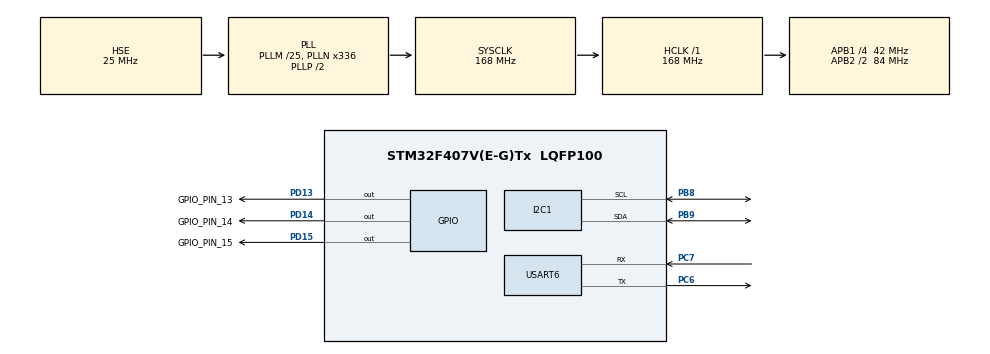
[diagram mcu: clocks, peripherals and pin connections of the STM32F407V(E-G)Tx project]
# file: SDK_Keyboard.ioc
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FREERTOS.Queues01=myQueue01,16,uint16_t,0,Dynamic,NULL,NULL
FREERTOS.Tasks01=defaultTask,0,128,StartDefaultTask,Default,NULL,Dynamic,NULL,NULL;myTask02,-2,128,StartTask02,Default,NULL,Dynamic,NULL,NULL
Mcu.Family=STM32F4
Mcu.Name=STM32F407V(E-G)Tx
Mcu.Package=LQFP100
NVIC.PriorityGroup=NVIC_PRIORITYGROUP_4
PA13.Mode=JTAG_5_pins
PA13.Signal=SYS_JTMS-SWDIO
PA14.Mode=JTAG_5_pins
PA14.Signal=SYS_JTCK-SWCLK
PA15.Mode=JTAG_5_pins
PA15.Signal=SYS_JTDI
PB3.Mode=JTAG_5_pins
PB3.Signal=SYS_JTDO-SWO
PB4.Mode=JTAG_5_pins
PB4.Signal=SYS_JTRST
PB8.GPIO_Pu=GPIO_PULLUP
PB8.Mode=I2C
PB8.Signal=I2C1_SCL
PB9.GPIO_Pu=GPIO_PULLUP
PB9.Mode=I2C
PB9.Signal=I2C1_SDA
PC6.Mode=Asynchronous
PC6.Signal=USART6_TX
PC7.Mode=Asynchronous
PC7.Signal=USART6_RX
PD13.GPIO_Label=GPIO_PIN_13
PD13.Signal=GPIO_Output
PD14.GPIO_Label=GPIO_PIN_14
PD14.Signal=GPIO_Output
PD15.GPIO_Label=GPIO_PIN_15
PD15.Signal=GPIO_Output
PH0-OSC_IN.Mode=HSE-External-Oscillator
PH0-OSC_IN.Signal=RCC_OSC_IN
PH1-OSC_OUT.Mode=HSE-External-Oscillator
PH1-OSC_OUT.Signal=RCC_OSC_OUT
ProjectManager.HeapSize=0x200
ProjectManager.StackSize=0x400
ProjectManager.TargetToolchain=STM32CubeIDE
RCC.48MHZClocksFreq_Value=84000000
RCC.AHBFreq_Value=168000000
RCC.APB1CLKDivider=RCC_HCLK_DIV4
RCC.APB1Freq_Value=42000000
RCC.APB1TimFreq_Value=84000000
RCC.APB2CLKDivider=RCC_HCLK_DIV2
RCC.APB2Freq_Value=84000000
RCC.APB2TimFreq_Value=168000000
RCC.CortexFreq_Value=168000000
RCC.HCLKFreq_Value=168000000
RCC.HSE_VALUE=25000000
RCC.HSI_VALUE=16000000
RCC.LSE_VALUE=32768
RCC.PLLM=25
RCC.PLLN=336
RCC.PLLSourceVirtual=RCC_PLLSOURCE_HSE
RCC.SYSCLKFreq_VALUE=168000000
RCC.SYSCLKSource=RCC_SYSCLKSOURCE_PLLCLK
RCC.VCOOutputFreq_Value=336000000
USART6.VirtualMode=VM_ASYNC
VP_FREERTOS_VS_CMSIS_V1.Mode=CMSIS_V1
board=custom

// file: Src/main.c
/* USER CODE BEGIN Header */
/**
  ******************************************************************************
  * @file           : main.c
  * @brief          : Main program body
  ******************************************************************************
  * @attention
  *
  * <h2><center>&copy; Copyright (c) 2019 STMicroelectronics.
  * All rights reserved.</center></h2>
  *
  * This software component is licensed by ST under BSD 3-Clause license,
  * the "License"; You may not use this file except in compliance with the
  * License. You may obtain a copy of the License at:
  *                        opensource.org/licenses/BSD-3-Clause
  *
  ******************************************************************************
  */
/* USER CODE END Header */
#include "main.h"
#include "cmsis_os.h"
#include "i2c.h"
#include "usart.h"
#include "gpio.h"

/* USER CODE BEGIN Includes */
#include "kb.h"
#include "sdk_uart.h"
#include "pca9538.h"
#include "oled.h"
#include "fonts.h"
/* USER CODE END Includes */

void SystemClock_Config(void);
void MX_FREERTOS_Init(void);
/* USER CODE BEGIN PFP */
void KB_Test( void );
void OLED_KB( uint8_t OLED_Keys[]);
void oled_Reset( void );
/* USER CODE END PFP */

int main(void)
{

  /* MCU Configuration--------------------------------------------------------*/

  /* Reset of all peripherals, Initializes the Flash interface and the Systick. */
  HAL_Init();

  /* Configure the system clock */
  SystemClock_Config();

  /* Initialize all configured peripherals */
  MX_GPIO_Init();
  MX_I2C1_Init();
  MX_USART6_UART_Init();

  /* USER CODE BEGIN 2 */

  MX_FREERTOS_Init();

    /* Start scheduler */
  osKernelStart();

  /* USER CODE END 2 */

  /* Call init function for freertos objects (in freertos.c) */

  /* We should never get here as control is now taken by the scheduler */
  /* Infinite loop */
  while (1)
  {

  }
}

void SystemClock_Config(void)
{
  RCC_OscInitTypeDef RCC_OscInitStruct = {0};
  RCC_ClkInitTypeDef RCC_ClkInitStruct = {0};

  /** Configure the main internal regulator output voltage
  */
  __HAL_RCC_PWR_CLK_ENABLE();
  __HAL_PWR_VOLTAGESCALING_CONFIG(PWR_REGULATOR_VOLTAGE_SCALE1);

  /** Initializes the RCC Oscillators according to the specified parameters
  * in the RCC_OscInitTypeDef structure.
  */
  RCC_OscInitStruct.OscillatorType = RCC_OSCILLATORTYPE_HSE;
  RCC_OscInitStruct.HSEState = RCC_HSE_ON;
  RCC_OscInitStruct.PLL.PLLState = RCC_PLL_ON;
  RCC_OscInitStruct.PLL.PLLSource = RCC_PLLSOURCE_HSE;
  RCC_OscInitStruct.PLL.PLLM = 25;
  RCC_OscInitStruct.PLL.PLLN = 336;
  RCC_OscInitStruct.PLL.PLLP = RCC_PLLP_DIV2;
  RCC_OscInitStruct.PLL.PLLQ = 4;
  if (HAL_RCC_OscConfig(&RCC_OscInitStruct) != HAL_OK)
  {
    Error_Handler();
  }

  /** Initializes the CPU, AHB and APB buses clocks
  */
  RCC_ClkInitStruct.ClockType = RCC_CLOCKTYPE_HCLK|RCC_CLOCKTYPE_SYSCLK
                              |RCC_CLOCKTYPE_PCLK1|RCC_CLOCKTYPE_PCLK2;
  RCC_ClkInitStruct.SYSCLKSource = RCC_SYSCLKSOURCE_PLLCLK;
  RCC_ClkInitStruct.AHBCLKDivider = RCC_SYSCLK_DIV1;
  RCC_ClkInitStruct.APB1CLKDivider = RCC_HCLK_DIV4;
  RCC_ClkInitStruct.APB2CLKDivider = RCC_HCLK_DIV2;

  if (HAL_RCC_ClockConfig(&RCC_ClkInitStruct, FLASH_LATENCY_5) != HAL_OK)
  {
    Error_Handler();
  }
}

/* USER CODE BEGIN 4 */
void KB_Test( void ) {
	UART_Transmit( (uint8_t*)"KB test start\n" );
	uint8_t R = 0, C = 0, L = 0, Row[4] = {ROW4, ROW3, ROW2, ROW1}, Key, OldKey, OLED_Keys[12] = {0x30,0x30,0x30,0x30,0x30,0x30,0x30,0x30,0x30,0x30,0x30,0x30};
	oled_Reset();
	oled_WriteString("From bottom to top", Font_7x10, White);
	OLED_KB(OLED_Keys);
	oled_UpdateScreen();
	for ( int i = 0; i < 4; i++ ) {
		while( !( R && C && L ) ) {
			OldKey = Key;
			Key = Check_Row( Row[i] );
			if ( Key == 0x01 && Key != OldKey) {
				UART_Transmit( (uint8_t*)"Right pressed\n" );
				R = 1;
				OLED_Keys[2+3*i] = 0x31;
				OLED_KB(OLED_Keys);
			} else if ( Key == 0x02 && Key != OldKey) {
				UART_Transmit( (uint8_t*)"Center pressed\n" );
				C = 1;
				OLED_Keys[1+3*i] = 0x31;
				OLED_KB(OLED_Keys);
			} else if ( Key == 0x04 && Key != OldKey) {
				UART_Transmit( (uint8_t*)"Left pressed\n" );
				L = 1;
				OLED_Keys[3*i] = 0x31;
				OLED_KB(OLED_Keys);
			}
		}
		UART_Transmit( (uint8_t*)"Row complete\n" );
		R = C = L = 0;
		HAL_Delay(25);
	}
	UART_Transmit( (uint8_t*)"KB test complete\n");
}
void OLED_KB( uint8_t OLED_Keys[12]) {
	for (int i = 3; i >= 0; i--) {
		oled_SetCursor(56, 5+(4-i)*10);
		for (int j = 0; j < 3; j++) {
			oled_WriteChar(OLED_Keys[j+3*i], Font_7x10, White);
		}
	}
	oled_UpdateScreen();
}
void oled_Reset( void ) {
	oled_Fill(Black);
	oled_SetCursor(0, 0);
	oled_UpdateScreen();
}
/* USER CODE END 4 */

void Error_Handler(void)
{
}

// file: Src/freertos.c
/* USER CODE BEGIN Header */
/**
  ******************************************************************************
  * File Name          : freertos.c
  * Description        : Code for freertos applications
  ******************************************************************************
  * @attention
  *
  * Copyright (c) 2024 STMicroelectronics.
  * All rights reserved.
  *
  * This software is licensed under terms that can be found in the LICENSE file
  * in the root directory of this software component.
  * If no LICENSE file comes with this software, it is provided AS-IS.
  *
  ******************************************************************************
  */
/* USER CODE END Header */

#include "FreeRTOS.h"
#include "task.h"
#include "main.h"
#include "cmsis_os.h"

/* USER CODE BEGIN Includes */
#include "oled.h"
#include "kb.h"
#include <malloc.h>
#include <stdlib.h>
#include <time.h>
/* USER CODE END Includes */

/* USER CODE BEGIN PTD */
typedef struct snake {
	struct snake *prev;
	struct snake *next;
	uint32_t x;
	uint32_t y;
} snake;

enum direction {
	LEFT,
	UP,
	RIGHT,
	DOWN
};
/* USER CODE END PTD */

/* USER CODE BEGIN PD */
uint32_t random_seed();
/* USER CODE END PD */

/* USER CODE BEGIN Variables */
uint32_t seed = 326443256;
uint32_t A = 2345345, C = 54217867, M = 4294967296;
uint8_t direction = LEFT;
/* USER CODE END Variables */
osThreadId defaultTaskHandle;
osThreadId myTask02Handle;
osMessageQId myQueue01Handle;

void StartDefaultTask(void const * argument);
void StartTask02(void const * argument);

void MX_FREERTOS_Init(void); /* (MISRA C 2004 rule 8.1) */

/* GetIdleTaskMemory prototype (linked to static allocation support) */
void vApplicationGetIdleTaskMemory( StaticTask_t **ppxIdleTaskTCBBuffer, StackType_t **ppxIdleTaskStackBuffer, uint32_t *pulIdleTaskStackSize );

/* USER CODE BEGIN GET_IDLE_TASK_MEMORY */
static StaticTask_t xIdleTaskTCBBuffer;
static StackType_t xIdleStack[configMINIMAL_STACK_SIZE];

void vApplicationGetIdleTaskMemory( StaticTask_t **ppxIdleTaskTCBBuffer, StackType_t **ppxIdleTaskStackBuffer, uint32_t *pulIdleTaskStackSize )
{
  *ppxIdleTaskTCBBuffer = &xIdleTaskTCBBuffer;
  *ppxIdleTaskStackBuffer = &xIdleStack[0];
  *pulIdleTaskStackSize = configMINIMAL_STACK_SIZE;
  /* place for user code */
}
/* USER CODE END GET_IDLE_TASK_MEMORY */

void MX_FREERTOS_Init(void) {

  /* Create the queue(s) */
  /* definition and creation of myQueue01 */
  osMessageQDef(myQueue01, 16, uint16_t);
  myQueue01Handle = osMessageCreate(osMessageQ(myQueue01), NULL);

  /* Create the thread(s) */
  /* definition and creation of defaultTask */
  osThreadDef(defaultTask, StartDefaultTask, osPriorityNormal, 0, 1024);
  defaultTaskHandle = osThreadCreate(osThread(defaultTask), NULL);

  /* definition and creation of myTask02 */
  osThreadDef(myTask02, StartTask02, osPriorityNormal, 0, 128);
  myTask02Handle = osThreadCreate(osThread(myTask02), NULL);

}

void StartDefaultTask(void const * argument)
{
  /* USER CODE BEGIN StartDefaultTask */
  /* Infinite loop */
	oled_Init();

	uint32_t width_screen = 128;
	uint32_t height_screen = 64;
	uint32_t width_snake = 4;
	uint32_t height_snake = 4;
	uint32_t x_cell = width_screen / width_snake;
	uint32_t y_cell = height_screen / height_snake;
	osEvent event;
	for (;;) {
		event = osMessageGet(myQueue01Handle, 100);
		while (event.status == osEventMessage) {
			event = osMessageGet(myQueue01Handle, 100);
		}
		oled_Reset();
		snake *head = (snake*) pvPortMalloc(sizeof(snake));
		head->x = x_cell/2;
		head->y = y_cell/2;
		snake *tail = head;
		for (int i = 1; i < 5; i++) {
			snake *node = (snake*) pvPortMalloc(sizeof(snake));
			node->next = tail;
			node->x = x_cell/2 + i;
			node->y = y_cell/2;
			tail->prev = node;
			tail = node;
		}
		snake *current_node = head;
		while (current_node != NULL) {
			uint16_t x1 = current_node->x * width_snake, y1 = current_node->y * height_snake;
			uint16_t x2 = x1 + width_snake, y2 = y1 + height_snake;
			oled_DrawSquare(x1, x2, y1, y2, White);
			oled_UpdateScreen();
			osDelay(100);
			current_node = current_node->prev;
		}

		int16_t xR = -1, yR = -1;
		uint8_t A = 1664525;
		for (;;) {
			event = osMessageGet(myQueue01Handle, 100);
			if (event.status == osEventMessage) {
				direction = event.value.v;
			}

			snake * node = (snake*) pvPortMalloc(sizeof(snake));
			node->x = head->x;
			node->y = head->y;
			switch (direction) {
				case DOWN:
					node->y += 1;
					break;
				case UP:
					node->y -= 1;
					break;
				case RIGHT:
					node->x += 1;
					break;
				case LEFT:
					node->x -= 1;
					break;
			}
			head->next = node;
			node->prev = head;
			head = node;

			uint16_t x1 = head->x * width_snake;
			uint16_t y1 = head->y * height_snake;
			uint16_t x2 = x1 + width_snake;
			uint16_t y2 = y1 + height_snake;
			oled_DrawSquare(x1, x2, y1, y2, White);

			if (head->x == xR && head->y == yR) {
				xR = -1;
				yR = -1;
			} else {
				x1 = tail->x * width_snake;
				y1 = tail->y * height_snake;
				x2 = x1 + width_snake;
				y2 = y1 + height_snake;
				oled_DrawSquare(x1, x2, y1, y2, Black);

				tail = tail->next;
				vPortFree(tail->prev);
				tail->prev = NULL;
			}

			if (head->x >= x_cell || head->y >= y_cell || head->x < 0 || head->y < 0) {
				break;
			}

			snake *current_node = head->prev;
			uint8_t flag = 0x00;
			while (current_node != NULL) {
				if (head->x == current_node->x && head->y == current_node->y) {
					flag = 0x01;
					break;
				}
				current_node = current_node->prev;
			}
			if (flag == 0x01) {
				break;
			}

			if (xR == -1 && yR == -1) {
				for (;;) {
					xR = (int16_t) random_seed() % (x_cell - 1);
					yR = (int16_t) random_seed() % (y_cell - 1);
					current_node = head;
					flag = 0x00;
					while (current_node != NULL) {
						if (xR == current_node->x && yR == current_node->y) {
							flag = 0x01;
							break;
						}
						current_node = current_node->prev;
					}
					if (flag == 0x00) {
						break;
					}
				}

			}
			oled_DrawSquare(xR * width_snake, (xR + 1) * width_snake,
					yR * height_snake, (yR + 1) * height_snake, White);

			oled_UpdateScreen();
			osDelay(100);
		}

		current_node = head;
		while (current_node != NULL) {
			uint16_t x1 = current_node->x * width_snake, y1 = current_node->y * height_snake;
			uint16_t x2 = x1 + width_snake, y2 = y1 + height_snake;
			oled_DrawSquare(x1, x2, y1, y2, Black);
			oled_UpdateScreen();
			osDelay(100);
			current_node = current_node->prev;

		}
		direction = LEFT;

	}

  /* USER CODE END StartDefaultTask */
}

void StartTask02(void const * argument)
{
  /* USER CODE BEGIN StartTask02 */
  /* Infinite loop */
	for (;;) {
		uint8_t Row[4] = {ROW4, ROW3, ROW2, ROW1};
		for ( int i = 1; i < 4; i++ ) {
			uint8_t Key = Check_Row( Row[i] );
			if (i == 1 && Key == 0x02 && direction != UP && direction != DOWN) {
				direction = DOWN;
				osMessagePut(myQueue01Handle, direction, 100);
			} else if ( i == 2 && Key == 0x04 && direction != RIGHT && direction != LEFT) {
				direction = LEFT;
				osMessagePut(myQueue01Handle, direction, 100);
			} else if ( i == 2 && Key == 0x01 && direction != LEFT && direction != RIGHT) {
				direction = RIGHT;
				osMessagePut(myQueue01Handle, direction, 100);
			} else if ( i == 3 && Key == 0x02 && direction != DOWN && direction != UP) {
				direction = UP;
				osMessagePut(myQueue01Handle, direction, 100);
			}

		}
		osDelay(10);
	}
  /* USER CODE END StartTask02 */
}

/* USER CODE BEGIN Application */
uint32_t random_seed() {
	seed = (A * seed + C) % M;
	return seed;
}
/* USER CODE END Application */
